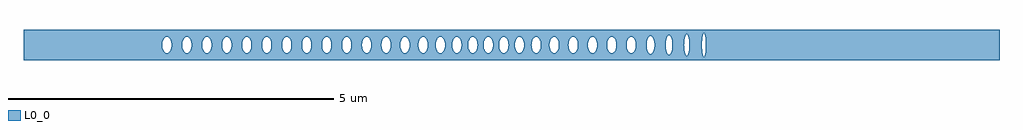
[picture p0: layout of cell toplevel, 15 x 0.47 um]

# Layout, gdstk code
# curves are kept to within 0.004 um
import gdstk
lib = gdstk.Library(unit=1e-6, precision=1e-09)
def P(c, l, *ps):  # polygons
    for p in ps: c.add(gdstk.Polygon(p, *l))
L0_0 = (0, 0)

toplevel = lib.new_cell('toplevel')
P(toplevel, L0_0, [(-4.754,0.016),(-4.75,0.047),(-4.732,0.093),(-4.732,0.234),(-7.5,0.234),(-7.5,-0.008),(-5.369,-0.008),(-5.364,0.047),(-5.346,0.093),(-5.323,0.119),(-5.296,0.128),(-5.261,0.112),(-5.24,0.081),(-5.227,0.039),(-5.224,0),(-5.062,0),(-5.057,0.047),(-5.039,0.093),(-5.016,0.119),(-4.989,0.128),(-4.963,0.119),(-4.943,0.098),(-4.928,0.068),(-4.917,0.016),(-4.92,-0.039),(-4.933,-0.081),(-4.954,-0.112),(-4.989,-0.128),(-5.016,-0.119),(-5.039,-0.093),(-5.057,-0.047),(-5.062,0),(-5.224,0),(-5.227,-0.039),(-5.24,-0.081),(-5.261,-0.112),(-5.296,-0.128),(-5.323,-0.119),(-5.346,-0.093),(-5.364,-0.047),(-5.369,-0.008),(-7.5,-0.008),(-7.5,-0.234),(-4.732,-0.234),(-4.732,-0.093),(-4.75,-0.047)],
  [(-4.725,0.103),(-4.709,0.119),(-4.682,0.128),(-4.647,0.112),(-4.621,0.068),(-4.61,0),(-4.448,0),(-4.441,0.054),(-4.425,0.093),(-4.402,0.119),(-4.375,0.128),(-4.362,0.125),(-4.336,0.108),(-4.319,0.081),(-4.306,0.039),(-4.303,-0.016),(-4.314,-0.068),(-4.329,-0.098),(-4.348,-0.119),(-4.375,-0.128),(-4.402,-0.119),(-4.425,-0.093),(-4.441,-0.054),(-4.448,0),(-4.61,0),(-4.613,-0.039),(-4.626,-0.081),(-4.656,-0.119),(-4.682,-0.128),(-4.696,-0.125),(-4.717,-0.112),(-4.732,-0.093),(-4.732,-0.234),(-4.095,-0.234),(-4.095,-0.119),(-4.127,-0.075),(-4.141,0),(-4.127,0.075),(-4.095,0.119),(-4.095,0.234),(-4.732,0.234),(-4.732,0.093)],
  [(-4.082,0.125),(-4.068,0.128),(-4.041,0.119),(-4.015,0.087),(-3.999,0.039),(-3.996,-0.016),(-3.833,-0.016),(-3.827,0.054),(-3.811,0.093),(-3.788,0.119),(-3.761,0.128),(-3.747,0.125),(-3.722,0.108),(-3.702,0.075),(-3.692,0.039),(-3.689,-0.016),(-3.702,-0.075),(-3.715,-0.098),(-3.734,-0.119),(-3.761,-0.128),(-3.788,-0.119),(-3.811,-0.093),(-3.825,-0.061),(-3.833,-0.016),(-3.996,-0.016),(-4.007,-0.068),(-4.029,-0.108),(-4.041,-0.119),(-4.068,-0.128),(-4.095,-0.119),(-4.095,-0.234),(-3.404,-0.234),(-3.404,-0.093),(-3.419,-0.112),(-3.44,-0.125),(-3.454,-0.128),(-3.481,-0.119),(-3.513,-0.075),(-3.526,-0.016),(-3.52,0.054),(-3.504,0.093),(-3.489,0.112),(-3.468,0.125),(-3.44,0.125),(-3.419,0.112),(-3.404,0.093),(-3.404,0.234),(-4.095,0.234),(-4.095,0.119)],
  [(-3.385,-0.039),(-3.404,-0.093),(-3.404,-0.234),(-2.572,-0.234),(-2.572,-0.108),(-2.594,-0.068),(-2.605,-0.016),(-2.6,0.047),(-2.589,0.081),(-2.572,0.108),(-2.572,0.234),(-3.404,0.234),(-3.404,0.093),(-3.385,0.039),(-3.382,-0.016),(-3.219,-0.016),(-3.217,0.032),(-3.206,0.075),(-3.182,0.112),(-3.147,0.128),(-3.12,0.119),(-3.097,0.093),(-3.081,0.054),(-3.075,-0.016),(-2.912,-0.016),(-2.91,0.032),(-2.899,0.075),(-2.875,0.112),(-2.84,0.128),(-2.813,0.119),(-2.79,0.093),(-2.776,0.061),(-2.768,0.016),(-2.77,-0.032),(-2.781,-0.075),(-2.805,-0.112),(-2.84,-0.128),(-2.867,-0.119),(-2.886,-0.098),(-2.899,-0.075),(-2.912,-0.016),(-3.075,-0.016),(-3.081,-0.054),(-3.097,-0.093),(-3.12,-0.119),(-3.147,-0.128),(-3.174,-0.119),(-3.197,-0.093),(-3.219,-0.016),(-3.382,-0.016)],
  [(-2.564,0.115),(-2.533,0.128),(-2.506,0.119),(-2.494,0.108),(-2.467,0.054),(-2.461,-0.008),(-2.3,-0.008),(-2.295,0.047),(-2.277,0.093),(-2.254,0.119),(-2.227,0.128),(-2.214,0.125),(-2.192,0.112),(-2.169,0.075),(-2.158,0.039),(-2.155,-0.008),(-2.16,-0.047),(-2.178,-0.093),(-2.201,-0.119),(-2.227,-0.128),(-2.254,-0.119),(-2.277,-0.093),(-2.295,-0.047),(-2.3,-0.008),(-2.461,-0.008),(-2.469,-0.061),(-2.498,-0.112),(-2.533,-0.128),(-2.56,-0.119),(-2.572,-0.108),(-2.572,-0.234),(-1.914,-0.234),(-1.914,-0.125),(-1.941,-0.125),(-1.97,-0.103),(-1.991,-0.061),(-2,-0.008),(-1.995,0.047),(-1.977,0.093),(-1.954,0.119),(-1.927,0.128),(-1.914,0.125),(-1.914,0.234),(-2.572,0.234),(-2.572,0.108)],
  [(-1.43,0.016),(-1.424,0.054),(-1.408,0.093),(-1.393,0.112),(-1.372,0.125),(-1.358,0.128),(-1.332,0.119),(-1.312,0.098),(-1.297,0.068),(-1.297,0.234),(-1.914,0.234),(-1.914,0.125),(-1.888,0.108),(-1.871,0.081),(-1.858,0.039),(-1.855,-0.016),(-1.709,-0.016),(-1.706,0.039),(-1.695,0.075),(-1.672,0.112),(-1.637,0.128),(-1.61,0.119),(-1.587,0.093),(-1.569,0.047),(-1.564,0.008),(-1.569,-0.047),(-1.587,-0.093),(-1.61,-0.119),(-1.637,-0.128),(-1.663,-0.119),(-1.683,-0.098),(-1.698,-0.068),(-1.709,-0.016),(-1.855,-0.016),(-1.874,-0.087),(-1.892,-0.112),(-1.914,-0.125),(-1.914,-0.234),(-1.297,-0.234),(-1.297,-0.068),(-1.312,-0.098),(-1.332,-0.119),(-1.358,-0.128),(-1.385,-0.119),(-1.408,-0.093),(-1.422,-0.061)],
  [(-1.288,-0.032),(-1.297,-0.068),(-1.297,-0.234),(-0.641,-0.234),(-0.641,-0.098),(-0.656,-0.068),(-0.667,-0.008),(-0.662,0.047),(-0.641,0.098),(-0.641,0.234),(-1.297,0.234),(-1.297,0.068),(-1.286,-0.008),(-1.165,-0.008),(-1.16,0.047),(-1.142,0.093),(-1.119,0.119),(-1.092,0.128),(-1.058,0.112),(-1.034,0.075),(-1.022,0.032),(-1.021,-0.016),(-0.911,-0.016),(-0.906,0.047),(-0.895,0.081),(-0.878,0.108),(-0.839,0.128),(-0.812,0.119),(-0.78,0.075),(-0.771,0.047),(-0.766,-0.008),(-0.771,-0.047),(-0.789,-0.093),(-0.804,-0.112),(-0.825,-0.125),(-0.852,-0.125),(-0.878,-0.108),(-0.9,-0.068),(-0.911,-0.016),(-1.021,-0.016),(-1.031,-0.068),(-1.046,-0.098),(-1.066,-0.119),(-1.092,-0.128),(-1.119,-0.119),(-1.139,-0.098),(-1.154,-0.068),(-1.165,-0.008),(-1.286,-0.008)],
  [(-0.19,0.016),(-0.18,0.068),(-0.165,0.098),(-0.137,0.123),(-0.105,0.125),(-0.105,0.234),(-0.641,0.234),(-0.641,0.098),(-0.621,0.119),(-0.595,0.128),(-0.56,0.112),(-0.533,0.068),(-0.523,0.024),(-0.523,-0.016),(-0.428,-0.016),(-0.425,0.039),(-0.412,0.081),(-0.391,0.112),(-0.356,0.128),(-0.329,0.119),(-0.306,0.093),(-0.29,0.054),(-0.283,0),(-0.29,-0.054),(-0.306,-0.093),(-0.329,-0.119),(-0.356,-0.128),(-0.382,-0.119),(-0.402,-0.098),(-0.417,-0.068),(-0.428,-0.016),(-0.523,-0.016),(-0.536,-0.075),(-0.568,-0.119),(-0.595,-0.128),(-0.608,-0.125),(-0.641,-0.098),(-0.641,-0.234),(-0.105,-0.234),(-0.105,-0.125),(-0.137,-0.123),(-0.165,-0.098),(-0.186,-0.047)],
  [(0.308,0.016),(0.321,0.075),(0.353,0.119),(0.38,0.128),(0.398,0.123),(0.419,0.108),(0.436,0.081),(0.436,0.234),(-0.105,0.234),(-0.105,0.125),(-0.08,0.108),(-0.057,0.068),(-0.047,0.024),(-0.047,-0.016),(0.051,-0.016),(0.054,0.039),(0.067,0.081),(0.088,0.112),(0.123,0.128),(0.15,0.119),(0.173,0.093),(0.191,0.047),(0.196,0),(0.191,-0.047),(0.173,-0.093),(0.15,-0.119),(0.123,-0.128),(0.097,-0.119),(0.077,-0.098),(0.062,-0.068),(0.051,-0.016),(-0.047,-0.016),(-0.051,-0.047),(-0.069,-0.093),(-0.084,-0.112),(-0.105,-0.125),(-0.105,-0.234),(0.436,-0.234),(0.436,-0.081),(0.419,-0.108),(0.398,-0.123),(0.38,-0.128),(0.353,-0.119),(0.33,-0.093),(0.316,-0.061)],
  [(1.175,0.032),(1.184,0.068),(1.184,0.234),(0.436,0.234),(0.436,0.08),(0.449,0.039),(0.452,-0.008),(0.584,-0.008),(0.589,0.047),(0.607,0.093),(0.63,0.119),(0.657,0.128),(0.683,0.119),(0.71,0.087),(0.726,0.039),(0.729,-0.008),(0.876,-0.008),(0.881,0.047),(0.899,0.093),(0.922,0.119),(0.948,0.128),(0.975,0.119),(0.995,0.098),(1.01,0.068),(1.021,0.008),(1.016,-0.047),(0.998,-0.093),(0.975,-0.119),(0.948,-0.128),(0.922,-0.119),(0.902,-0.098),(0.887,-0.068),(0.876,-0.008),(0.729,-0.008),(0.726,-0.039),(0.71,-0.087),(0.683,-0.119),(0.657,-0.128),(0.63,-0.119),(0.607,-0.093),(0.589,-0.047),(0.584,-0.008),(0.452,-0.008),(0.436,-0.081),(0.436,-0.234),(1.184,-0.234),(1.184,-0.068),(1.172,-0.008)],
  [(1.77,0.032),(1.782,0.075),(1.805,0.112),(1.84,0.128),(1.867,0.119),(1.867,0.234),(1.184,0.234),(1.184,0.068),(1.195,0.093),(1.218,0.119),(1.245,0.128),(1.271,0.119),(1.291,0.098),(1.306,0.068),(1.315,0.032),(1.317,-0.016),(1.469,-0.016),(1.471,0.032),(1.482,0.075),(1.506,0.112),(1.541,0.128),(1.568,0.119),(1.591,0.093),(1.607,0.054),(1.613,0.016),(1.611,-0.032),(1.6,-0.075),(1.576,-0.112),(1.541,-0.128),(1.514,-0.119),(1.491,-0.093),(1.469,-0.016),(1.317,-0.016),(1.306,-0.068),(1.291,-0.098),(1.271,-0.119),(1.245,-0.128),(1.21,-0.112),(1.184,-0.068),(1.184,-0.234),(1.867,-0.234),(1.867,-0.119),(1.84,-0.128),(1.827,-0.125),(1.794,-0.098),(1.771,-0.039)],
  [(2.37,0.019),(2.381,0.098),(2.402,0.143),(2.415,0.153),(2.428,0.153),(2.454,0.118),(2.454,0.234),(1.867,0.234),(1.867,0.119),(1.89,0.093),(1.904,0.061),(1.913,0.008),(1.911,-0.018),(2.075,-0.018),(2.079,0.052),(2.089,0.09),(2.107,0.123),(2.129,0.14),(2.156,0.134),(2.174,0.114),(2.192,0.068),(2.199,0.018),(2.195,-0.052),(2.185,-0.09),(2.167,-0.123),(2.145,-0.14),(2.118,-0.134),(2.1,-0.114),(2.082,-0.068),(2.075,-0.018),(1.911,-0.018),(1.899,-0.075),(1.867,-0.119),(1.867,-0.234),(2.454,-0.234),(2.454,-0.119),(2.428,-0.153),(2.415,-0.153),(2.396,-0.135),(2.374,-0.065)],
  [(7.5,-0.234),(7.5,0.234),(2.454,0.234),(2.454,0.118),(2.47,0.057),(2.473,0),(2.651,0),(2.655,0.071),(2.665,0.122),(2.68,0.159),(2.696,0.167),(2.716,0.141),(2.726,0.106),(2.734,0.042),(2.734,-0.034),(2.926,-0.034),(2.934,0.123),(2.942,0.158),(2.955,0.18),(2.967,0.171),(2.976,0.146),(2.989,0.023),(2.982,-0.115),(2.973,-0.158),(2.959,-0.18),(2.947,-0.171),(2.937,-0.139),(2.926,-0.034),(2.734,-0.034),(2.72,-0.129),(2.704,-0.162),(2.691,-0.167),(2.675,-0.151),(2.659,-0.098),(2.651,0),(2.473,0),(2.47,-0.057),(2.454,-0.118),(2.454,-0.234)])

lib.write_gds('toplevel.gds')
